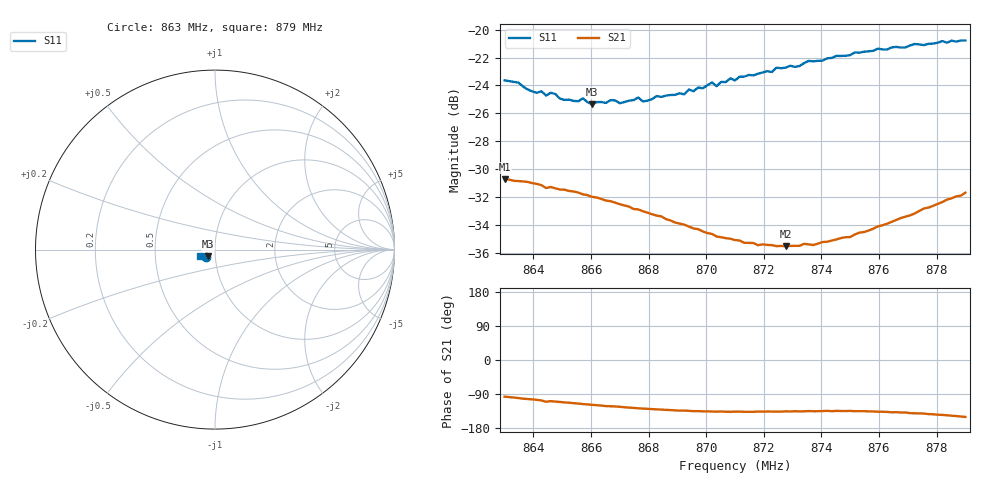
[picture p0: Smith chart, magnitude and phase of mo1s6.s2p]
# HZ S RI R 50
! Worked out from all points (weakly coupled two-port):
!   101 points, 863 MHz to 879 MHz, reference 50 ohm
!   highest |S21| = -30.72 dB at 863 MHz (marker M1); lowest = -35.5 dB at 872.76 MHz (marker M2)
!   lowest |S11| = -25.4 dB at 866.04 MHz (marker M3), VSWR 1.11, Z = 46.2 - j3.55 ohm
!   |S11| at or under -10 dB: start of sweep to end of sweep
!   S12 and S22 are empty: the file has one direction only
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8.63e8  -0.0522 -0.0401  -0.00343 -0.0289  0 0  0 0
8.6348e8  -0.051 -0.0395  -0.00516 -0.0282  0 0  0 0
8.6444e8  -0.0454 -0.0362  -0.00936 -0.0254  0 0  0 0
8.6476e8  -0.0447 -0.0382  -0.00917 -0.0254  0 0  0 0
8.6508e8  -0.0419 -0.0371  -0.00997 -0.0248  0 0  0 0
8.6572e8  -0.0406 -0.0396  -0.0114 -0.023  0 0  0 0
8.6604e8  -0.0381 -0.0383  -0.0119 -0.0221  0 0  0 0
8.678e8  -0.0358 -0.0421  -0.0139 -0.0175  0 0  0 0
8.6844e8  -0.0353 -0.0452  -0.014 -0.0162  0 0  0 0
8.6924e8  -0.0348 -0.0472  -0.0138 -0.0145  0 0  0 0
8.694e8  -0.0372 -0.0484  -0.0137 -0.0141  0 0  0 0
8.6956e8  -0.0359 -0.0483  -0.0137 -0.0137  0 0  0 0
8.702e8  -0.0386 -0.0518  -0.0133 -0.0129  0 0  0 0
8.7036e8  -0.0379 -0.0499  -0.0131 -0.0125  0 0  0 0
8.7084e8  -0.0412 -0.0527  -0.013 -0.0122  0 0  0 0
8.71e8  -0.0401 -0.0521  -0.0128 -0.0122  0 0  0 0
8.7116e8  -0.0417 -0.0535  -0.0127 -0.0121  0 0  0 0
8.7276e8  -0.0477 -0.0553  -0.0119 -0.0118  0 0  0 0
8.7372e8  -0.0531 -0.0557  -0.012 -0.0119  0 0  0 0
8.75e8  -0.0612 -0.0531  -0.0126 -0.0129  0 0  0 0
8.7644e8  -0.071 -0.049  -0.0152 -0.0137  0 0  0 0
8.79e8  -0.0845 -0.0348  -0.0226 -0.0129  0 0  0 0
